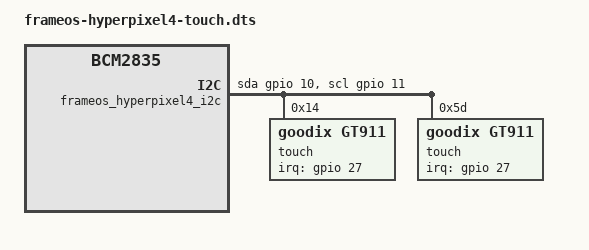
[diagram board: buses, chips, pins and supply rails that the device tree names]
/*
 * Touch for the Pimoroni HyperPixel 4.0 (rectangular), and nothing else.
 *
 * The FrameOS hyperPixel4 driver owns the display side (firmware DPI, the
 * panel init bus, the backlight), so unlike vc4-kms-dpi-hyperpixel4 or
 * Pimoroni's hyperpixel4 overlay this one claims no DPI pin and no GPIO 19.
 * The touch nodes are the kernel overlay's: a Goodix GT911 on a bit-banged
 * I2C bus (SDA 10, SCL 11), interrupt on GPIO 27, at whichever of its two
 * addresses the controller latched at power-on.
 *
 * The touch properties are the kernel overlay's, verbatim, swap included:
 * the axis ranges they produce (X 0..799, Y 0..479) look transposed over a
 * 480x800 fb0, but evdev scales each axis by its own range and X does run
 * along fb0's x. A Pi 5 bench with the kernel overlay (2026-09-19) had every
 * tap under the finger with these, and at its transpose without the swap.
 *
 * Build: dtc -@ -I dts -O dtb -o frameos-hyperpixel4-touch.dtbo frameos-hyperpixel4-touch.dts
 */

/dts-v1/;
/plugin/;

/ {
	compatible = "brcm,bcm2835";

	fragment@0 {
		target-path = "/";
		__overlay__ {
			frameos_hyperpixel4_i2c: i2c@0 {
				compatible = "i2c-gpio";
				gpios = <&gpio 10 6 /* sda, open drain */
					 &gpio 11 6>; /* scl, open drain */
				i2c-gpio,delay-us = <4>; /* ~100 kHz */
				#address-cells = <1>;
				#size-cells = <0>;

				touch@14 {
					compatible = "goodix,gt911";
					reg = <0x14>;
					interrupt-parent = <&gpio>;
					interrupts = <27 2>;
					touchscreen-size-x = <480>;
					touchscreen-size-y = <800>;
					touchscreen-x-mm = <51>;
					touchscreen-y-mm = <85>;
					touchscreen-inverted-y;
					touchscreen-swapped-x-y;
				};

				touch@5d {
					compatible = "goodix,gt911";
					reg = <0x5d>;
					interrupt-parent = <&gpio>;
					interrupts = <27 2>;
					touchscreen-size-x = <480>;
					touchscreen-size-y = <800>;
					touchscreen-x-mm = <51>;
					touchscreen-y-mm = <85>;
					touchscreen-inverted-y;
					touchscreen-swapped-x-y;
				};
			};
		};
	};
};
